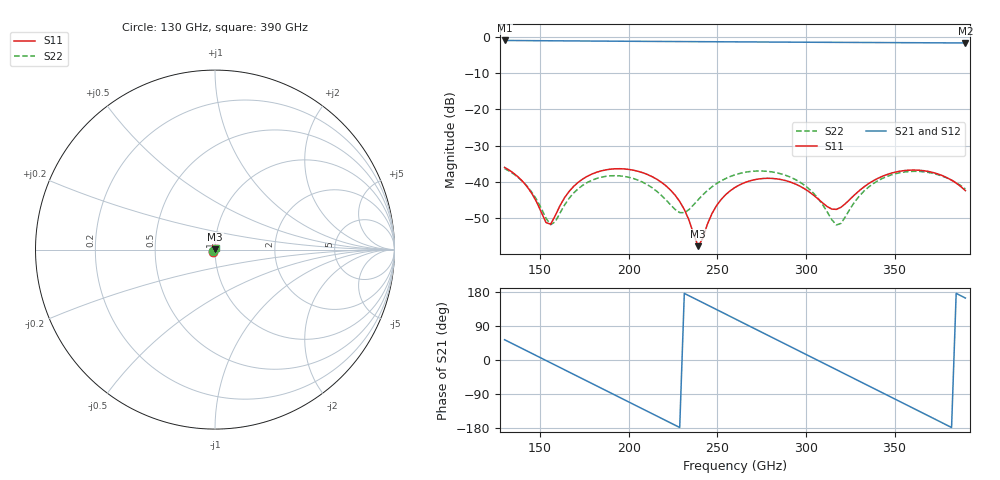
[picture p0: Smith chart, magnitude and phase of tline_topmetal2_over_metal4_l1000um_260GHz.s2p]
#  GHZ S DB R 50
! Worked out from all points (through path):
!   101 points, 130 GHz to 390 GHz, reference 50 ohm
!   highest |S21| = -1.00 dB at 130 GHz (marker M1); lowest = -1.7 dB at 390 GHz (marker M2)
!   group delay of S21, straight-line fit = 6.52 ps
!   lowest |S11| = -57.6 dB at 239.2 GHz (marker M3), VSWR 1.00, Z = 50.1 + j0.0899 ohm
!   |S11| at or under -10 dB: start of sweep to end of sweep
!   |S22| runs from -51.8 to -36.3 dB; largest |S21 - S12| = 9.6e-14
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130  -35.94 -137.2  -1.00 53.4  -1.00 53.4  -36.27 -138.6
143  -41.45 -180.0  -1.05 23.0  -1.05 23.0  -41.30 178.8
153.4  -51.15 102.6  -1.08 -1.4  -1.08 -1.4  -49.96 113.8
156  -51.57 58.5  -1.09 -7.5  -1.09 -7.5  -51.72 77.4
163.8  -44.31 -13.2  -1.11 -25.8  -1.11 -25.8  -46.31 -8.1
174.2  -39.11 -53.0  -1.15 -50.2  -1.15 -50.2  -40.83 -53.0
195  -36.31 -115.0  -1.21 -98.9  -1.21 -98.9  -38.28 -119.3
205.4  -37.03 -145.0  -1.24 -123.3  -1.24 -123.3  -39.48 -153.0
218.4  -40.01 176.3  -1.28 -153.8  -1.28 -153.8  -43.61 155.5
228.8  -45.34 140.6  -1.31 -178.1  -1.31 -178.1  -48.39 80.5
239.2  -57.63 43.1  -1.33 157.5  -1.33 157.5  -44.85 -8.4
249.6  -46.46 -68.7  -1.36 133.1  -1.36 133.1  -40.40 -56.0
260  -41.47 -105.8  -1.39 108.7  -1.39 108.7  -37.99 -92.2
270.4  -39.40 -138.6  -1.41 84.3  -1.41 84.3  -36.99 -125.2
280.8  -38.98 -171.2  -1.44 59.9  -1.44 59.9  -37.18 -157.5
293.8  -40.46 145.2  -1.47 29.4  -1.47 29.4  -39.22 161.2
304.2  -43.54 102.1  -1.50 5.0  -1.50 5.0  -42.99 123.3
317.2  -47.50 7.8  -1.53 -25.5  -1.53 -25.5  -51.80 25.3
332.8  -41.31 -91.4  -1.56 -62.1  -1.56 -62.1  -42.47 -98.4
348.4  -37.50 -147.0  -1.60 -98.8  -1.60 -98.8  -37.98 -152.2
371.8  -37.36 140.5  -1.65 -153.7  -1.65 -153.7  -37.60 133.9
390  -42.33 75.3  -1.69 163.6  -1.69 163.6  -41.87 66.0
